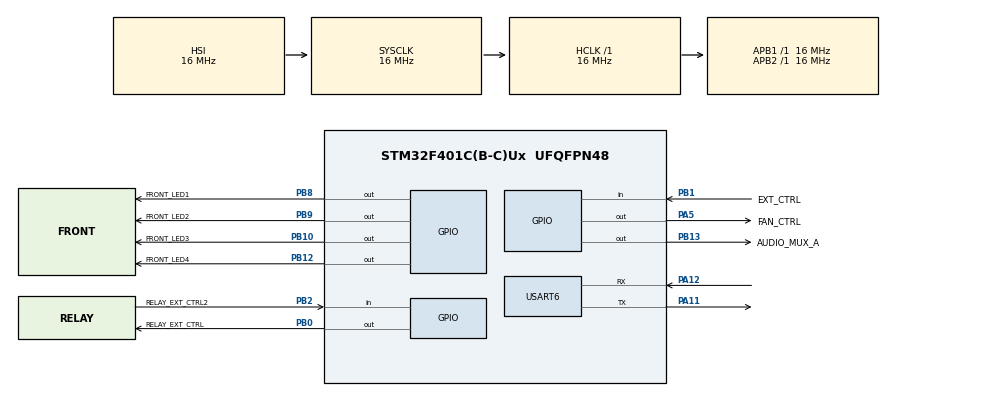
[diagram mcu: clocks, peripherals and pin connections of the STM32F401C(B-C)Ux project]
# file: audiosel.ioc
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FREERTOS.Queues01=RxQueue,64,uint8_t,0,Static,RxQueueBuffer,RxQueueControlBlock
FREERTOS.Tasks01=defaultTask,24,256,StartDefaultTask,Default,NULL,Dynamic,NULL,NULL
Mcu.Family=STM32F4
Mcu.Name=STM32F401C(B-C)Ux
Mcu.Package=UFQFPN48
NVIC.PriorityGroup=NVIC_PRIORITYGROUP_4
NVIC.TIM1_UP_TIM10_IRQn=true\:15\:0\:false\:false\:true\:false\:false\:true\:true
NVIC.TimeBase=TIM1_UP_TIM10_IRQn
NVIC.TimeBaseIP=TIM1
NVIC.USART6_IRQn=true\:5\:0\:false\:false\:true\:true\:true\:true\:true
PA10.GPIO_Label=LTE_UART_RXD
PA10.Signal=USART1_RX
PA11.Mode=Asynchronous
PA11.Signal=USART6_TX
PA12.Mode=Asynchronous
PA12.Signal=USART6_RX
PA5.GPIO_Label=FAN_CTRL
PA5.Signal=GPIO_Output
PA9.GPIO_Label=LTE_UART_TXD
PA9.Signal=USART1_TX
PB0.GPIO_Label=RELAY_EXT_CTRL
PB0.Signal=GPIO_Output
PB1.GPIO_Label=EXT_CTRL
PB1.Signal=GPIO_Input
PB10.GPIO_Label=FRONT_LED3
PB10.Signal=GPIO_Output
PB12.GPIO_Label=FRONT_LED4
PB12.Signal=GPIO_Output
PB13.GPIO_Label=AUDIO_MUX_A
PB13.Signal=GPIO_Output
PB2.GPIO_Label=RELAY_EXT_CTRL2
PB2.Signal=GPIO_Input
PB6.Signal=I2C1_SCL
PB7.Signal=I2C1_SDA
PB8.GPIO_Label=FRONT_LED1
PB8.Signal=GPIO_Output
PB9.GPIO_Label=FRONT_LED2
PB9.Signal=GPIO_Output
ProjectManager.HeapSize=0x200
ProjectManager.StackSize=0x400
ProjectManager.TargetToolchain=Makefile
RCC.AHBFreq_Value=16000000
RCC.APB1Freq_Value=16000000
RCC.APB2Freq_Value=16000000
RCC.CortexFreq_Value=16000000
RCC.HSE_VALUE=25000000
RCC.HSI_VALUE=16000000
RCC.LSE_VALUE=32768
RCC.SYSCLKFreq_VALUE=16000000
RCC.VCOOutputFreq_Value=192000000
USART6.VirtualMode=VM_ASYNC
VP_FREERTOS_VS_CMSIS_V2.Mode=CMSIS_V2
VP_SYS_VS_tim1.Mode=TIM1
board=custom

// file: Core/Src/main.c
/* USER CODE BEGIN Header */
/**
  ******************************************************************************
  * @file           : main.c
  * @brief          : Main program body
  ******************************************************************************
  * @attention
  *
  * Copyright (c) 2022 STMicroelectronics.
  * All rights reserved.
  *
  * This software is licensed under terms that can be found in the LICENSE file
  * in the root directory of this software component.
  * If no LICENSE file comes with this software, it is provided AS-IS.
  *
  ******************************************************************************
  */
/* USER CODE END Header */
#include "main.h"
#include "cmsis_os.h"
#include "stm32f4xx_hal_gpio.h"

/* USER CODE BEGIN Includes */
#include <stdint.h>
#include <stdio.h>
#include <string.h>
/* USER CODE END Includes */

typedef StaticQueue_t osStaticMessageQDef_t;

UART_HandleTypeDef huart6;

/* Definitions for defaultTask */
osThreadId_t defaultTaskHandle;
const osThreadAttr_t defaultTask_attributes = {
  .name = "defaultTask",
  .stack_size = 256 * 4,
  .priority = (osPriority_t) osPriorityNormal,
};
/* Definitions for RxQueue */
osMessageQueueId_t RxQueueHandle;
uint8_t RxQueueBuffer[ 64 * sizeof( uint8_t ) ];
osStaticMessageQDef_t RxQueueControlBlock;
const osMessageQueueAttr_t RxQueue_attributes = {
  .name = "RxQueue",
  .cb_mem = &RxQueueControlBlock,
  .cb_size = sizeof(RxQueueControlBlock),
  .mq_mem = &RxQueueBuffer,
  .mq_size = sizeof(RxQueueBuffer)
};
/* USER CODE BEGIN PV */
uint8_t rxbuf[256];
/* USER CODE END PV */

void SystemClock_Config(void);
static void MX_GPIO_Init(void);
static void MX_USART6_UART_Init(void);
void StartDefaultTask(void *argument);

int main(void)
{

  /* MCU Configuration--------------------------------------------------------*/

  /* Reset of all peripherals, Initializes the Flash interface and the Systick. */
  HAL_Init();

  /* Configure the system clock */
  SystemClock_Config();

  /* Initialize all configured peripherals */
  MX_GPIO_Init();
  MX_USART6_UART_Init();

  /* Init scheduler */
  osKernelInitialize();

  /* Create the queue(s) */
  /* creation of RxQueue */
  RxQueueHandle = osMessageQueueNew (64, sizeof(uint8_t), &RxQueue_attributes);

  /* Create the thread(s) */
  /* creation of defaultTask */
  defaultTaskHandle = osThreadNew(StartDefaultTask, NULL, &defaultTask_attributes);

  /* Start scheduler */
  osKernelStart();

  /* We should never get here as control is now taken by the scheduler */
  /* Infinite loop */
  while (1)
  {

  }
}

void SystemClock_Config(void)
{
  RCC_OscInitTypeDef RCC_OscInitStruct = {0};
  RCC_ClkInitTypeDef RCC_ClkInitStruct = {0};

  /** Configure the main internal regulator output voltage
  */
  __HAL_RCC_PWR_CLK_ENABLE();
  __HAL_PWR_VOLTAGESCALING_CONFIG(PWR_REGULATOR_VOLTAGE_SCALE2);

  /** Initializes the RCC Oscillators according to the specified parameters
  * in the RCC_OscInitTypeDef structure.
  */
  RCC_OscInitStruct.OscillatorType = RCC_OSCILLATORTYPE_HSI;
  RCC_OscInitStruct.HSIState = RCC_HSI_ON;
  RCC_OscInitStruct.HSICalibrationValue = RCC_HSICALIBRATION_DEFAULT;
  RCC_OscInitStruct.PLL.PLLState = RCC_PLL_NONE;
  if (HAL_RCC_OscConfig(&RCC_OscInitStruct) != HAL_OK)
  {
    Error_Handler();
  }

  /** Initializes the CPU, AHB and APB buses clocks
  */
  RCC_ClkInitStruct.ClockType = RCC_CLOCKTYPE_HCLK|RCC_CLOCKTYPE_SYSCLK
                              |RCC_CLOCKTYPE_PCLK1|RCC_CLOCKTYPE_PCLK2;
  RCC_ClkInitStruct.SYSCLKSource = RCC_SYSCLKSOURCE_HSI;
  RCC_ClkInitStruct.AHBCLKDivider = RCC_SYSCLK_DIV1;
  RCC_ClkInitStruct.APB1CLKDivider = RCC_HCLK_DIV1;
  RCC_ClkInitStruct.APB2CLKDivider = RCC_HCLK_DIV1;

  if (HAL_RCC_ClockConfig(&RCC_ClkInitStruct, FLASH_LATENCY_0) != HAL_OK)
  {
    Error_Handler();
  }
}

static void MX_USART6_UART_Init(void)
{

  huart6.Instance = USART6;
  huart6.Init.BaudRate = 115200;
  huart6.Init.WordLength = UART_WORDLENGTH_8B;
  huart6.Init.StopBits = UART_STOPBITS_1;
  huart6.Init.Parity = UART_PARITY_NONE;
  huart6.Init.Mode = UART_MODE_TX_RX;
  huart6.Init.HwFlowCtl = UART_HWCONTROL_NONE;
  huart6.Init.OverSampling = UART_OVERSAMPLING_16;
  if (HAL_UART_Init(&huart6) != HAL_OK)
  {
    Error_Handler();
  }

}

static void MX_GPIO_Init(void)
{
  GPIO_InitTypeDef GPIO_InitStruct = {0};

  /* GPIO Ports Clock Enable */
  __HAL_RCC_GPIOA_CLK_ENABLE();
  __HAL_RCC_GPIOB_CLK_ENABLE();

  /*Configure GPIO pin Output Level */
  HAL_GPIO_WritePin(FAN_CTRL_GPIO_Port, FAN_CTRL_Pin, GPIO_PIN_RESET);

  /*Configure GPIO pin Output Level */
  HAL_GPIO_WritePin(GPIOB, RELAY_EXT_CTRL_Pin|FRONT_LED3_Pin|FRONT_LED4_Pin|AUDIO_MUX_A_Pin
                          |FRONT_LED1_Pin|FRONT_LED2_Pin, GPIO_PIN_RESET);

  /*Configure GPIO pin : FAN_CTRL_Pin */
  GPIO_InitStruct.Pin = FAN_CTRL_Pin;
  GPIO_InitStruct.Mode = GPIO_MODE_OUTPUT_PP;
  GPIO_InitStruct.Pull = GPIO_NOPULL;
  GPIO_InitStruct.Speed = GPIO_SPEED_FREQ_LOW;
  HAL_GPIO_Init(FAN_CTRL_GPIO_Port, &GPIO_InitStruct);

  /*Configure GPIO pins : RELAY_EXT_CTRL_Pin FRONT_LED3_Pin FRONT_LED4_Pin AUDIO_MUX_A_Pin
                           FRONT_LED1_Pin FRONT_LED2_Pin */
  GPIO_InitStruct.Pin = RELAY_EXT_CTRL_Pin|FRONT_LED3_Pin|FRONT_LED4_Pin|AUDIO_MUX_A_Pin
                          |FRONT_LED1_Pin|FRONT_LED2_Pin;
  GPIO_InitStruct.Mode = GPIO_MODE_OUTPUT_PP;
  GPIO_InitStruct.Pull = GPIO_NOPULL;
  GPIO_InitStruct.Speed = GPIO_SPEED_FREQ_LOW;
  HAL_GPIO_Init(GPIOB, &GPIO_InitStruct);

  /*Configure GPIO pins : EXT_CTRL_Pin RELAY_EXT_CTRL2_Pin */
  GPIO_InitStruct.Pin = EXT_CTRL_Pin|RELAY_EXT_CTRL2_Pin;
  GPIO_InitStruct.Mode = GPIO_MODE_INPUT;
  GPIO_InitStruct.Pull = GPIO_NOPULL;
  HAL_GPIO_Init(GPIOB, &GPIO_InitStruct);

  /*Configure GPIO pins : LTE_UART_TXD_Pin LTE_UART_RXD_Pin */
  GPIO_InitStruct.Pin = LTE_UART_TXD_Pin|LTE_UART_RXD_Pin;
  GPIO_InitStruct.Mode = GPIO_MODE_AF_PP;
  GPIO_InitStruct.Pull = GPIO_NOPULL;
  GPIO_InitStruct.Speed = GPIO_SPEED_FREQ_VERY_HIGH;
  GPIO_InitStruct.Alternate = GPIO_AF7_USART1;
  HAL_GPIO_Init(GPIOA, &GPIO_InitStruct);

  /*Configure GPIO pins : PB6 PB7 */
  GPIO_InitStruct.Pin = GPIO_PIN_6|GPIO_PIN_7;
  GPIO_InitStruct.Mode = GPIO_MODE_AF_OD;
  GPIO_InitStruct.Pull = GPIO_NOPULL;
  GPIO_InitStruct.Speed = GPIO_SPEED_FREQ_VERY_HIGH;
  GPIO_InitStruct.Alternate = GPIO_AF4_I2C1;
  HAL_GPIO_Init(GPIOB, &GPIO_InitStruct);

}

/* USER CODE BEGIN 4 */
static void _select_audio(int is_output)
{
    GPIO_PinState state =
        HAL_GPIO_ReadPin(AUDIO_MUX_A_GPIO_Port, AUDIO_MUX_A_Pin);

    if (is_output != state) {
        HAL_GPIO_WritePin(AUDIO_MUX_A_GPIO_Port, AUDIO_MUX_A_Pin,
                          is_output ? GPIO_PIN_SET : GPIO_PIN_RESET);
    }
}

void HAL_UART_RxCpltCallback(UART_HandleTypeDef *huart)
{
    _select_audio(1);
    HAL_UART_Receive_IT(huart, rxbuf, 4);
}
/* USER CODE END 4 */

void StartDefaultTask(void *argument)
{
    /* USER CODE BEGIN 5 */

    /* HAL_GPIO_WritePin(AUDIO_MUX_A_GPIO_Port, AUDIO_MUX_A_Pin, GPIO_PIN_SET); */

    HAL_UART_Receive_IT(&huart6, rxbuf, 4);

    /* Infinite loop */
    for (;;) {
	GPIO_PinState state = HAL_GPIO_ReadPin(EXT_CTRL_GPIO_Port, EXT_CTRL_Pin);
	if (state == GPIO_PIN_RESET) {
	    _select_audio(0);
	}
	osDelay(10);
    }
    /* USER CODE END 5 */
}

void HAL_TIM_PeriodElapsedCallback(TIM_HandleTypeDef *htim)
{
  if (htim->Instance == TIM1) {
    HAL_IncTick();
  }
}

void Error_Handler(void)
{
  __disable_irq();
  while (1)
  {
  }
}
